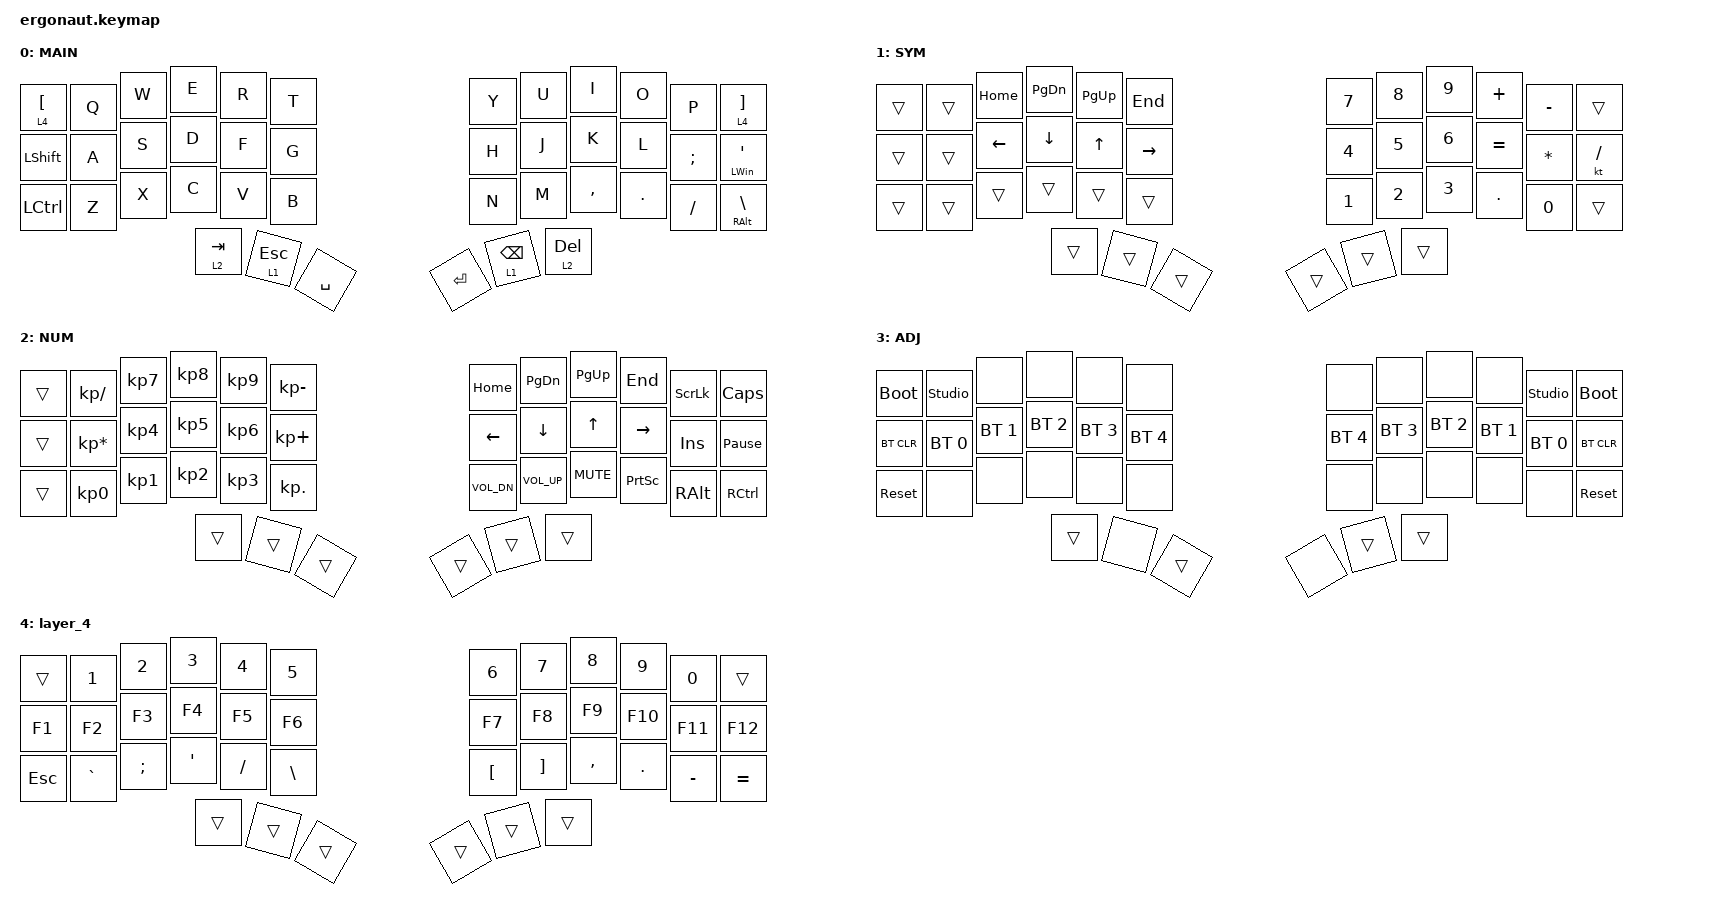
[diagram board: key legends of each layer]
#include <behaviors.dtsi>
#include <dt-bindings/zmk/bt.h>
#include <dt-bindings/zmk/keys.h>

#define DEF 0
#define LWR 1
#define RSE 2
#define ADJ 3

&lt { quick-tap-ms = <200>; };

&mt { quick-tap-ms = <200>; };

/ {
    conditional_layers {
        compatible = "zmk,conditional-layers";

        tri-layer {
            if-layers = <1 2>;
            then-layer = <3>;
        };
    };

    keymap {
        compatible = "zmk,keymap";

        default_layer {
            display-name = "MAIN";
            bindings = <
&lt 4 LEFT_BRACKET  &kp Q  &kp W  &kp E      &kp R         &kp T      &kp Y    &kp U            &kp I      &kp O    &kp P     &lt 4 RIGHT_BRACKET
&kp LSHFT           &kp A  &kp S  &kp D      &kp F         &kp G      &kp H    &kp J            &kp K      &kp L    &kp SEMI  &mt LEFT_WIN APOS
&kp LCTRL           &kp Z  &kp X  &kp C      &kp V         &kp B      &kp N    &kp M            &kp COMMA  &kp DOT  &kp FSLH  &mt RIGHT_ALT BSLH
                                  &lt 2 TAB  &lt 1 ESCAPE  &kp SPACE  &kp RET  &lt 1 BACKSPACE  &lt 2 DEL
            >;
        };

        lower_layer {
            display-name = "SYM";
            bindings = <
&trans  &trans  &kp HOME  &kp PAGE_DOWN  &kp PG_UP  &kp END    &kp N7  &kp N8  &kp N9  &kp PLUS   &kp MINUS     &trans
&trans  &trans  &kp LEFT  &kp DOWN       &kp UP     &kp RIGHT  &kp N4  &kp N5  &kp N6  &kp EQUAL  &kp ASTERISK  &kt SLASH
&trans  &trans  &trans    &trans         &trans     &trans     &kp N1  &kp N2  &kp N3  &kp DOT    &kp N0        &trans
                          &trans         &trans     &trans     &trans  &trans  &trans
            >;
        };

        raise_layer {
            display-name = "NUM";
            bindings = <
&trans  &kp KP_SLASH     &kp KP_N7  &kp KP_N8  &kp KP_N9  &kp KP_MINUS  &kp HOME      &kp PAGE_DOWN    &kp PG_UP   &kp END          &kp SLCK       &kp CLCK
&trans  &kp KP_MULTIPLY  &kp KP_N4  &kp KP_N5  &kp KP_N6  &kp KP_PLUS   &kp LEFT      &kp DOWN         &kp UP      &kp RIGHT        &kp INS        &kp PAUSE_BREAK
&trans  &kp KP_N0        &kp KP_N1  &kp KP_N2  &kp KP_N3  &kp KP_DOT    &kp C_VOL_DN  &kp C_VOLUME_UP  &kp K_MUTE  &kp PRINTSCREEN  &kp RIGHT_ALT  &kp RCTRL
                                    &trans     &trans     &trans        &trans        &trans           &trans
            >;
        };

        adjust_layer {
            display-name = "ADJ";
            bindings = <
&bootloader  &studio_unlock  &none         &none         &none         &none         &none         &none         &none         &none         &studio_unlock  &bootloader
&bt BT_CLR   &bt BT_SEL 0    &bt BT_SEL 1  &bt BT_SEL 2  &bt BT_SEL 3  &bt BT_SEL 4  &bt BT_SEL 4  &bt BT_SEL 3  &bt BT_SEL 2  &bt BT_SEL 1  &bt BT_SEL 0    &bt BT_CLR
&sys_reset   &none           &none         &none         &none         &none         &none         &none         &none         &none         &none           &sys_reset
                                           &trans        &none         &trans        &none         &trans        &trans
            >;
        };

        layer_4 {
            bindings = <
&trans   &kp N1     &kp N2    &kp N3    &kp N4    &kp N5    &kp N6    &kp N7    &kp N8     &kp N9   &kp N0     &trans
&kp F1   &kp F2     &kp F3    &kp F4    &kp F5    &kp F6    &kp F7    &kp F8    &kp F9     &kp F10  &kp F11    &kp F12
&kp ESC  &kp GRAVE  &kp SEMI  &kp APOS  &kp FSLH  &kp BSLH  &kp LBKT  &kp RBKT  &kp COMMA  &kp DOT  &kp MINUS  &kp EQUAL
                              &trans    &trans    &trans    &trans    &trans    &trans
            >;
        };
    };
};
